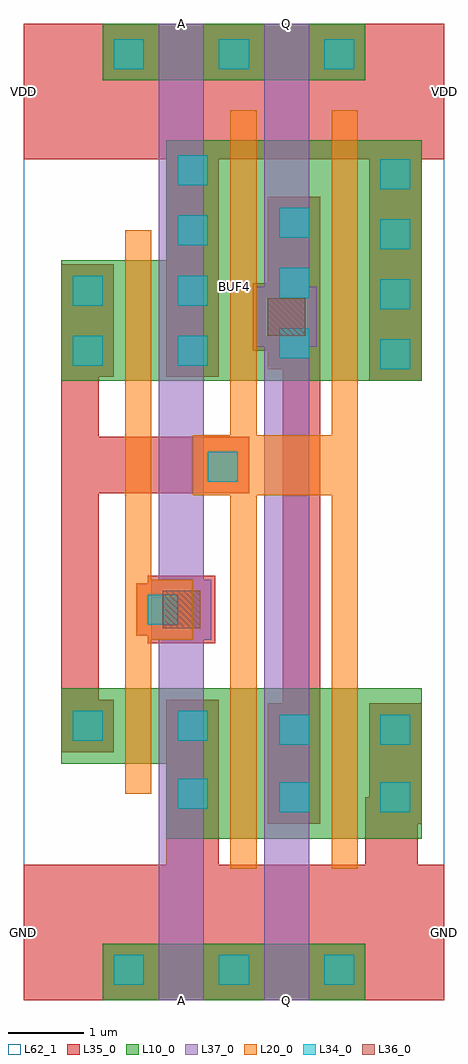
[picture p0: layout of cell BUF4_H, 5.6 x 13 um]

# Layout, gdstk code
import gdstk
lib = gdstk.Library(unit=1e-6, precision=1e-09)
def R(c, l, rs):  # rectangles x0, y0, x1, y1
    for r in rs: c.add(gdstk.rectangle(r[:2], r[2:], *l))
def A(c, l, x, y, w, h, nx, ny, dx, dy):  # array of equal rectangles
    R(c, l, [(x+i*dx, y+j*dy, x+i*dx+w, y+j*dy+h) for i in range(nx) for j in range(ny)])
def P(c, l, *ps):  # polygons
    for p in ps: c.add(gdstk.Polygon(p, *l))
L10_0 = (10, 0)
L20_0 = (20, 0)
L34_0 = (34, 0)
L35_0 = (35, 0)
L36_0 = (36, 0)
L37_0 = (37, 0)
L62_1 = (62, 1)

buf4_h = lib.new_cell('BUF4_H')
R(buf4_h, L10_0, [(1.05,0,4.55,0.75), (1.05,12.25,4.55,13)])
P(buf4_h, L10_0, [(5.3,11.45),(1.9,11.45),(1.9,9.85),(0.5,9.85),(0.5,8.25),(5.3,8.25)],
  [(5.3,4.15),(0.5,4.15),(0.5,3.15),(1.9,3.15),(1.9,2.15),(5.3,2.15)])
P(buf4_h, L20_0, [(2.25,5.6),(1.7,5.6),(1.7,10.25),(1.35,10.25),(1.35,2.75),(1.7,2.75),(1.7,4.8),(2.25,4.8)],
  [(4.45,11.85),(4.1,11.85),(4.1,7.525),(3.1,7.525),(3.1,11.85),(2.75,11.85),(2.75,7.525),(2.25,7.525),(2.25,6.725),(2.75,6.725),(2.75,1.75),(3.1,1.75),(3.1,6.725),(4.1,6.725),(4.1,1.75),(4.45,1.75)])
A(buf4_h, L34_0, 1.2, 0.2, 0.4, 0.4, 3, 2, 1.4, 12.2)
A(buf4_h, L34_0, 4.75, 8.4, 0.4, 0.4, 1, 4, 0, 0.8)
A(buf4_h, L34_0, 2.05, 8.45, 0.4, 0.4, 1, 4, 0, 0.8)
A(buf4_h, L34_0, 3.4, 8.55, 0.4, 0.4, 1, 3, 0, 0.8)
R(buf4_h, L34_0, [(3.4,2.5,3.8,2.9), (4.75,2.5,5.15,2.9), (2.05,2.55,2.45,2.95), (3.4,3.4,3.8,3.8), (4.75,3.4,5.15,3.8), (0.65,3.45,1.05,3.85), (2.05,3.45,2.45,3.85), (1.65,5,2.05,5.4), (2.45,6.9,2.85,7.3), (0.65,8.45,1.05,8.85), (0.65,9.25,1.05,9.65)])
R(buf4_h, L35_0, [(1.65,4.75,2.55,5.65), (3.05,8.65,3.95,9.55)])
P(buf4_h, L35_0, [(3,7.5),(1,7.5),(1,8.3),(1.2,8.3),(1.2,9.8),(0.5,9.8),(0.5,3.3),(1.2,3.3),(1.2,4),(1,4),(1,6.75),(3,6.75)],
  [(5.6,1.8),(5.25,1.8),(5.25,2.35),(5.3,2.35),(5.3,3.95),(4.6,3.95),(4.6,2.7),(4.55,2.7),(4.55,1.8),(2.6,1.8),(2.6,4),(1.9,4),(1.9,1.8),(0,1.8),(0,0),(5.6,0)],
  [(2.55,5.65),(1.65,5.65),(1.65,5.55),(1.5,5.55),(1.5,4.85),(1.65,4.85),(1.65,4.75),(2.55,4.75)],
  [(3.95,10.7),(3.25,10.7),(3.25,9.55),(3.05,9.55),(3.05,8.65),(3.25,8.65),(3.25,8.4),(3.45,8.4),(3.45,3.95),(3.25,3.95),(3.25,2.35),(3.95,2.35)],
  [(5.6,13),(0,13),(0,11.2),(1.9,11.2),(1.9,8.3),(2.6,8.3),(2.6,11.2),(4.6,11.2),(4.6,8.25),(5.3,8.25),(5.3,11.2),(5.6,11.2)])
R(buf4_h, L36_0, [(1.85,4.95,2.35,5.45), (3.25,8.85,3.75,9.35)])
R(buf4_h, L37_0, [(1.8,0,2.4,13), (3.2,0,3.8,13), (1.7,4.8,2.5,5.6), (3.1,8.7,3.9,9.5)])
R(buf4_h, L62_1, [(0,0,5.6,13)])
buf4_h.add(gdstk.Label('BUF4', (2.8,9.5), layer=61, texttype=2))
buf4_h.add(gdstk.Label('A', (2.1,13), layer=37, texttype=0))
buf4_h.add(gdstk.Label('Q', (3.5,13), layer=37, texttype=0))
buf4_h.add(gdstk.Label('A', (2.1,0), layer=37, texttype=0))
buf4_h.add(gdstk.Label('Q', (3.5,0), layer=37, texttype=0))
buf4_h.add(gdstk.Label('GND', (5.6,0.9), layer=35, texttype=0))
buf4_h.add(gdstk.Label('GND', (0,0.9), layer=35, texttype=0))
buf4_h.add(gdstk.Label('VDD', (5.6,12.1), layer=35, texttype=0))
buf4_h.add(gdstk.Label('VDD', (0,12.1), layer=35, texttype=0))

lib.write_gds('BUF4_H.gds')
